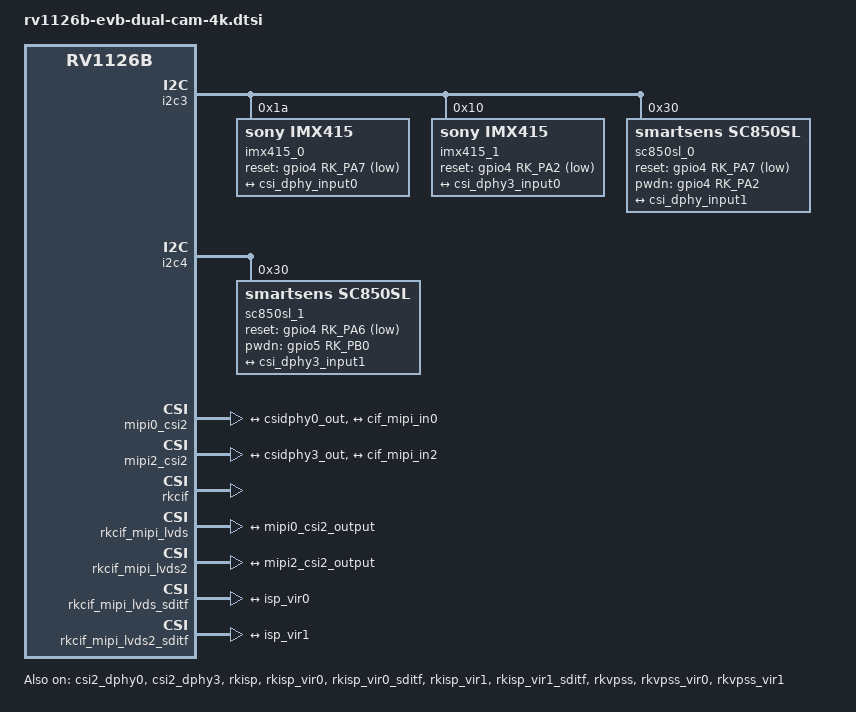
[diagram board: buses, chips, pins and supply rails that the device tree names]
// SPDX-License-Identifier: (GPL-2.0+ OR MIT)
/*
 * Copyright (c) 2025 Rockchip Electronics Co., Ltd.
 *
 */

/*
 * csi2_dphy0 -> csi0(rx0) clk0 + 4 lane
 * csi2_dphy3 -> csi1(rx1) clk0 + 4 lane
 */

&csi2_dphy0 {
	status = "okay";

	ports {
		#address-cells = <1>;
		#size-cells = <0>;
		port@0 {
			reg = <0>;
			#address-cells = <1>;
			#size-cells = <0>;

			csi_dphy_input0: endpoint@1 {
				reg = <1>;
				remote-endpoint = <&imx415_out0>;
				data-lanes = <1 2 3 4>;
			};

			csi_dphy_input1: endpoint@2 {
				reg = <2>;
				remote-endpoint = <&sc850sl_out0>;
				data-lanes = <1 2 3 4>;
			};
		};
		port@1 {
			reg = <1>;
			#address-cells = <1>;
			#size-cells = <0>;

			csidphy0_out: endpoint@0 {
				reg = <0>;
				remote-endpoint = <&mipi0_csi2_input>;
			};
		};
	};
};

&csi2_dphy3 {
	status = "okay";

	ports {
		#address-cells = <1>;
		#size-cells = <0>;
		port@0 {
			reg = <0>;
			#address-cells = <1>;
			#size-cells = <0>;

			csi_dphy3_input0: endpoint@1 {
				reg = <1>;
				remote-endpoint = <&imx415_out1>;
				data-lanes = <1 2 3 4>;
			};

			csi_dphy3_input1: endpoint@2 {
				reg = <2>;
				remote-endpoint = <&sc850sl_out1>;
				data-lanes = <1 2 3 4>;
			};

		};
		port@1 {
			reg = <1>;
			#address-cells = <1>;
			#size-cells = <0>;

			csidphy3_out: endpoint@0 {
				reg = <0>;
				remote-endpoint = <&mipi2_csi2_input>;
			};
		};
	};
};

&i2c3 {
	status = "okay";
	pinctrl-0 = <&i2c3m1_pins>;

	imx415_0: imx415_0@1a {
		compatible = "sony,imx415";
		reg = <0x1a>;
		clocks = <&cru CLK_MIPI0_OUT2IO>;
		clock-names = "xvclk";
		reset-gpios = <&gpio4 RK_PA7 GPIO_ACTIVE_LOW>;
		pinctrl-names = "default";
		pinctrl-0 = <&cam_clk0_pins>;
		rockchip,camera-module-index = <0>;
		rockchip,camera-module-facing = "back";
		rockchip,camera-module-name = "default";
		rockchip,camera-module-lens-name = "default";
		port {
			imx415_out0: endpoint {
				remote-endpoint = <&csi_dphy_input0>;
				data-lanes = <1 2 3 4>;
			};
		};
	};

	imx415_1: imx415_1@10 {
		compatible = "sony,imx415";
		reg = <0x10>;
		clocks = <&cru CLK_MIPI2_OUT2IO>;
		clock-names = "xvclk";
		reset-gpios = <&gpio4 RK_PA2 GPIO_ACTIVE_LOW>;
		pinctrl-names = "default";
		pinctrl-0 = <&cam_clk2_pins>;
		rockchip,camera-module-index = <1>;
		rockchip,camera-module-facing = "back";
		rockchip,camera-module-name = "default";
		rockchip,camera-module-lens-name = "default";
		port {
			imx415_out1: endpoint {
				remote-endpoint = <&csi_dphy3_input0>;
				data-lanes = <1 2 3 4>;
			};
		};
	};

	sc850sl_0: sc850sl_0@30 {
		compatible = "smartsens,sc850sl";
		status = "okay";
		reg = <0x30>;
		clocks = <&cru CLK_MIPI0_OUT2IO>;
		clock-names = "xvclk";
		reset-gpios = <&gpio4 RK_PA7 GPIO_ACTIVE_LOW>;
		pwdn-gpios = <&gpio4 RK_PA2 GPIO_ACTIVE_HIGH>;
		pinctrl-names = "default";
		pinctrl-0 = <&cam_clk0_pins>;
		rockchip,camera-module-index = <0>;
		rockchip,camera-module-facing = "back";
		rockchip,camera-module-name = "default";
		rockchip,camera-module-lens-name = "default";
		port {
			sc850sl_out0: endpoint {
				remote-endpoint = <&csi_dphy_input1>;
				data-lanes = <1 2 3 4>;
			};
		};
	};
};

&i2c4 {
	status = "okay";
	pinctrl-0 = <&i2c4m3_pins>;

	sc850sl_1: sc850sl_1@30 {
		compatible = "smartsens,sc850sl";
		status = "okay";
		reg = <0x30>;
		clocks = <&cru CLK_MIPI2_OUT2IO>;
		clock-names = "xvclk";
		reset-gpios = <&gpio4 RK_PA6 GPIO_ACTIVE_LOW>;
		pwdn-gpios = <&gpio5 RK_PB0 GPIO_ACTIVE_HIGH>;
		pinctrl-names = "default";
		pinctrl-0 = <&cam_clk2_pins>;
		rockchip,camera-module-index = <1>;
		rockchip,camera-module-facing = "back";
		rockchip,camera-module-name = "default";
		rockchip,camera-module-lens-name = "default";
		port {
			sc850sl_out1: endpoint {
				remote-endpoint = <&csi_dphy3_input1>;
				data-lanes = <1 2 3 4>;
			};
		};
	};
};

&mipi0_csi2 {
	status = "okay";

	ports {
		#address-cells = <1>;
		#size-cells = <0>;

		port@0 {
			reg = <0>;
			#address-cells = <1>;
			#size-cells = <0>;

			mipi0_csi2_input: endpoint@1 {
				reg = <1>;
				remote-endpoint = <&csidphy0_out>;
			};
		};

		port@1 {
			reg = <1>;
			#address-cells = <1>;
			#size-cells = <0>;

			mipi0_csi2_output: endpoint@0 {
				reg = <0>;
				remote-endpoint = <&cif_mipi_in0>;
			};
		};
	};
};

&mipi2_csi2 {
	status = "okay";

	ports {
		#address-cells = <1>;
		#size-cells = <0>;

		port@0 {
			reg = <0>;
			#address-cells = <1>;
			#size-cells = <0>;

			mipi2_csi2_input: endpoint@1 {
				reg = <1>;
				remote-endpoint = <&csidphy3_out>;
			};
		};

		port@1 {
			reg = <1>;
			#address-cells = <1>;
			#size-cells = <0>;

			mipi2_csi2_output: endpoint@0 {
				reg = <0>;
				remote-endpoint = <&cif_mipi_in2>;
			};
		};
	};
};

&rkcif {
	status = "okay";
};

&rkcif_mipi_lvds {
	status = "okay";

	port {
		cif_mipi_in0: endpoint {
			remote-endpoint = <&mipi0_csi2_output>;
		};
	};
};

&rkcif_mipi_lvds2 {
	status = "okay";

	port {
		cif_mipi_in2: endpoint {
			remote-endpoint = <&mipi2_csi2_output>;
		};
	};
};

&rkcif_mipi_lvds_sditf {
	status = "okay";

	port {
		mipi_lvds_sditf: endpoint {
			remote-endpoint = <&isp_vir0>;
		};
	};
};

&rkcif_mipi_lvds2_sditf {
	status = "okay";

	port {
		mipi_lvds2_sditf: endpoint {
			remote-endpoint = <&isp_vir1>;
		};
	};
};

&rkcif_mmu {
	status = "okay";
};

&rkisp {
	status = "okay";
};

&rkisp_mmu {
	status = "okay";
};

&rkisp_vir0 {
	status = "okay";

	port {
		#address-cells = <1>;
		#size-cells = <0>;

		isp_vir0: endpoint@0 {
			reg = <0>;
			remote-endpoint = <&mipi_lvds_sditf>;
		};
	};
};

&rkisp_vir0_sditf {
	status = "okay";
};

&rkisp_vir1 {
	status = "okay";

	port {
		#address-cells = <1>;
		#size-cells = <0>;

		isp_vir1: endpoint@0 {
			reg = <0>;
			remote-endpoint = <&mipi_lvds2_sditf>;
		};
	};
};

&rkisp_vir1_sditf {
	status = "okay";
};

&rkvpss {
	status = "okay";
	dvbm = <&rkdvbm>;
};

&rkvpss_mmu {
	status = "okay";
};

&rkvpss_vir0 {
	status = "okay";
};

&rkvpss_vir1 {
	status = "okay";
};
